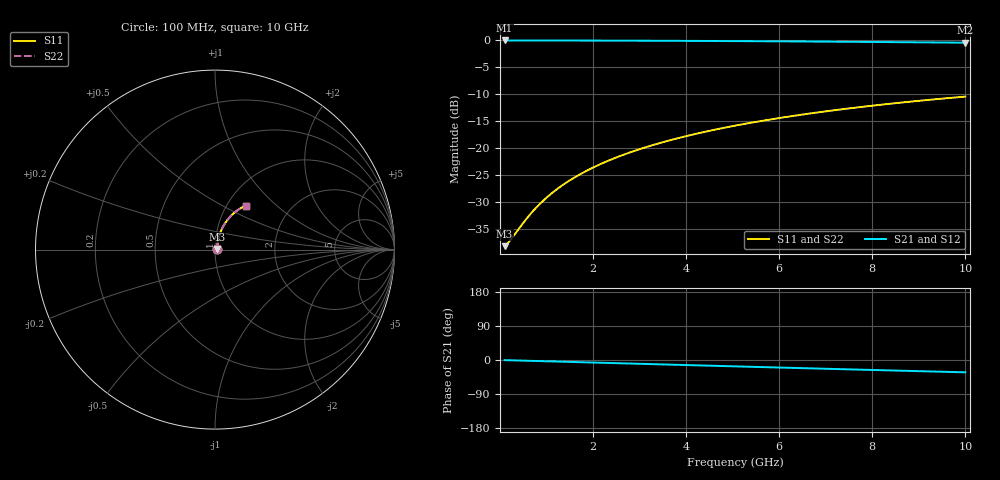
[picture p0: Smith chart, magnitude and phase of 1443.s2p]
# Hz S RI R 50.00
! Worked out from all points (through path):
!   100 points, 100 MHz to 10 GHz, reference 50 ohm
!   highest |S21| = -0.10 dB at 100 MHz (marker M1); lowest = -0.5 dB at 10 GHz (marker M2)
!   group delay of S21, straight-line fit = 9.06 ps
!   lowest |S11| = -38.2 dB at 100 MHz (marker M3), VSWR 1.03, Z = 51.2 + j0.326 ohm
!   |S11| at or under -10 dB: start of sweep to end of sweep
!   |S22| runs from -38.2 to -10.5 dB; largest |S21 - S12| = 0
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1e8  0.0119 0.00318  0.9881 -0.00578  0.9881 -0.00578  0.0119 0.00318
2e8  0.0121 0.00636  0.9879 -0.0116  0.9879 -0.0116  0.0121 0.00636
5e8  0.0126 0.0159  0.9873 -0.0289  0.9873 -0.0289  0.0126 0.0159
6e8  0.0128 0.0191  0.987 -0.0346  0.987 -0.0346  0.0128 0.0191
7e8  0.0131 0.0222  0.9867 -0.0404  0.9867 -0.0404  0.0131 0.0222
9e8  0.0138 0.0285  0.9859 -0.0519  0.9859 -0.0519  0.0138 0.0285
1.1e9  0.0146 0.0348  0.985 -0.0634  0.985 -0.0634  0.0146 0.0348
1.3e9  0.0155 0.0411  0.9839 -0.0749  0.9839 -0.0749  0.0155 0.0411
1.5e9  0.0166 0.0474  0.9826 -0.0863  0.9826 -0.0863  0.0166 0.0474
1.8e9  0.0184 0.0567  0.9804 -0.1035  0.9804 -0.1035  0.0184 0.0567
2.1e9  0.0206 0.0659  0.9778 -0.1205  0.9778 -0.1205  0.0206 0.0659
2.5e9  0.0241 0.0781  0.9738 -0.1431  0.9738 -0.1431  0.0241 0.0781
2.9e9  0.028 0.0901  0.969 -0.1655  0.969 -0.1655  0.028 0.0901
3.4e9  0.0337 0.1047  0.9622 -0.1931  0.9622 -0.1931  0.0337 0.1047
3.8e9  0.0389 0.1162  0.9561 -0.215  0.9561 -0.215  0.0389 0.1162
4.2e9  0.0446 0.1273  0.9493 -0.2366  0.9493 -0.2366  0.0446 0.1273
5.1e9  0.0591 0.1513  0.9319 -0.284  0.9319 -0.284  0.0591 0.1513
5.9e9  0.0739 0.171  0.914 -0.3247  0.914 -0.3247  0.0739 0.171
6.7e9  0.0903 0.1892  0.8941 -0.3639  0.8941 -0.3639  0.0903 0.1892
7.5e9  0.1081 0.2057  0.8723 -0.4013  0.8723 -0.4013  0.1081 0.2057
8.4e9  0.1296 0.2221  0.8458 -0.4414  0.8458 -0.4414  0.1296 0.2221
1e10  0.1706 0.2454  0.7942 -0.5068  0.7942 -0.5068  0.1706 0.2454
